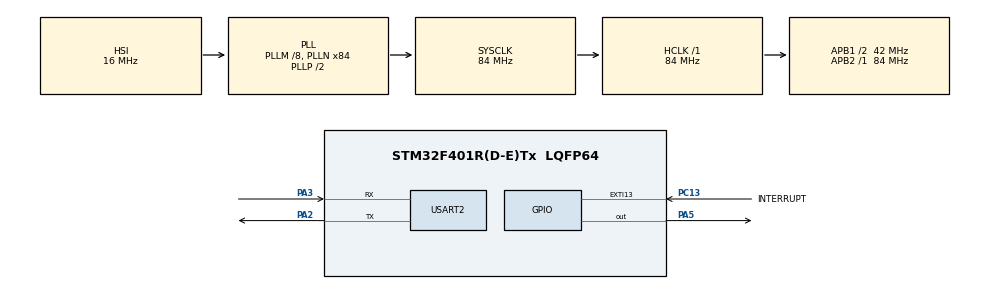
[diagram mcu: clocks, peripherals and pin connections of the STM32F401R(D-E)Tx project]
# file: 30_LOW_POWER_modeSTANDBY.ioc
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Mcu.Family=STM32F4
Mcu.Name=STM32F401R(D-E)Tx
Mcu.Package=LQFP64
NVIC.PriorityGroup=NVIC_PRIORITYGROUP_4
NVIC.USART2_IRQn=true\:0\:0\:false\:false\:true\:true\:true\:true
PA0-WKUP.Mode=SYS_WakeUp0
PA0-WKUP.Signal=SYS_WKUP
PA13.Mode=Serial_Wire
PA13.Signal=SYS_JTMS-SWDIO
PA14.Mode=Serial_Wire
PA14.Signal=SYS_JTCK-SWCLK
PA2.Mode=Asynchronous
PA2.Signal=USART2_TX
PA3.Mode=Asynchronous
PA3.Signal=USART2_RX
PA5.Signal=GPIO_Output
PC13-ANTI_TAMP.GPIO_Label=INTERRUPT
PC13-ANTI_TAMP.GPIO_ModeDefaultEXTI=GPIO_MODE_IT_FALLING
PC13-ANTI_TAMP.GPIO_PuPd=GPIO_PULLUP
PC13-ANTI_TAMP.Signal=GPXTI13
PH0\ -\ OSC_IN.Mode=HSE-External-Clock-Source
PH0\ -\ OSC_IN.Signal=RCC_OSC_IN
PH1\ -\ OSC_OUT.Mode=HSE-External-Clock-Source
PH1\ -\ OSC_OUT.Signal=RCC_OSC_OUT
ProjectManager.HeapSize=0x200
ProjectManager.StackSize=0x400
ProjectManager.TargetToolchain=STM32CubeIDE
RCC.48MHZClocksFreq_Value=42000000
RCC.AHBFreq_Value=84000000
RCC.APB1CLKDivider=RCC_HCLK_DIV2
RCC.APB1Freq_Value=42000000
RCC.APB1TimFreq_Value=84000000
RCC.APB2Freq_Value=84000000
RCC.APB2TimFreq_Value=84000000
RCC.CortexFreq_Value=84000000
RCC.HCLKFreq_Value=84000000
RCC.HSE_VALUE=8000000
RCC.HSI_VALUE=16000000
RCC.LSE_VALUE=32768
RCC.PLLM=8
RCC.PLLN=84
RCC.SYSCLKFreq_VALUE=84000000
RCC.SYSCLKSource=RCC_SYSCLKSOURCE_PLLCLK
RCC.VCOOutputFreq_Value=168000000
USART2.VirtualMode=VM_ASYNC
board=custom

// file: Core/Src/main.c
/* USER CODE BEGIN Header */
/**
  ******************************************************************************
  * @file           : main.c
  * @brief          : Main program body
  ******************************************************************************
  * @attention
  *
  * Copyright (c) 2024 STMicroelectronics.
  * All rights reserved.
  *
  * This software is licensed under terms that can be found in the LICENSE file
  * in the root directory of this software component.
  * If no LICENSE file comes with this software, it is provided AS-IS.
  *
  ******************************************************************************
  */
/* USER CODE END Header */
#include "main.h"
#include "usart.h"
#include "gpio.h"

/* USER CODE BEGIN Includes */
#include "string.h"
#include <stdio.h>
#include "stdbool.h"
/* USER CODE END Includes */

/* USER CODE BEGIN PV */
uint8_t * MSG_Standby1 = {0};
uint8_t * MSG_Standby2 = {0};
uint8_t * MSG_Standby3 = {0};
bool Bandera = false;
uint8_t rx;
/* USER CODE END PV */

void SystemClock_Config(void);

int main(void)
{

  /* MCU Configuration--------------------------------------------------------*/

  /* Reset of all peripherals, Initializes the Flash interface and the Systick. */
  HAL_Init();

  /* Configure the system clock */
  SystemClock_Config();

  /* Initialize all configured peripherals */
  MX_GPIO_Init();
  MX_USART2_UART_Init();
  /* USER CODE BEGIN 2 */
  //EL MODO STANDBY

  /* USER CODE END 2 */

  /* Infinite loop */
  /* USER CODE BEGIN WHILE */
  while (1)

  {
	  if(__HAL_PWR_GET_FLAG(PWR_FLAG_SB) != 0){ //si la bandera
	  	  __HAL_PWR_CLEAR_FLAG(PWR_FLAG_SB);
	  	MSG_Standby1 = "despertando del MODO STANDBY en 5 segunodos\n\r";
	  	  HAL_UART_Transmit(&huart2, MSG_Standby1, strlen(MSG_Standby1),HAL_MAX_DELAY);

	  	  for(uint8_t var = 0; var <20; ++var){
	  	  	  GPIOA->ODR ^= (1<<5);
	  	  	  HAL_Delay(200);
	  	  }
	  	  HAL_PWR_DisableWakeUpPin(PWR_WAKEUP_PIN1);
	    }

	  /******************************/

	  __HAL_PWR_CLEAR_FLAG(PWR_FLAG_WU); //borrar la bandera dek wake up
	  MSG_Standby2 = "Preparados para ir a MODO STANDBY en 5 segunodos\n\r";
	    HAL_UART_Transmit(&huart2, MSG_Standby2, strlen(MSG_Standby2),HAL_MAX_DELAY);

	      for(uint8_t var = 0; var <20; ++var){
	    	  	  GPIOA->ODR ^= (1<<5);
	    	  	  HAL_Delay(1000);
	    	 }
	     HAL_PWR_EnableWakeUpPin(PWR_WAKEUP_PIN1); //habilitammos el pin WAKEup
	     MSG_Standby3 = "MODO STANDBY habilitado\n\r";
	     HAL_UART_Transmit(&huart2, MSG_Standby3, strlen(MSG_Standby3),HAL_MAX_DELAY);
	     HAL_PWR_EnterSTANDBYMode();
    /* USER CODE END WHILE */

}}

void SystemClock_Config(void)
{
  RCC_OscInitTypeDef RCC_OscInitStruct = {0};
  RCC_ClkInitTypeDef RCC_ClkInitStruct = {0};

  /** Configure the main internal regulator output voltage
  */
  __HAL_RCC_PWR_CLK_ENABLE();
  __HAL_PWR_VOLTAGESCALING_CONFIG(PWR_REGULATOR_VOLTAGE_SCALE2);

  /** Initializes the RCC Oscillators according to the specified parameters
  * in the RCC_OscInitTypeDef structure.
  */
  RCC_OscInitStruct.OscillatorType = RCC_OSCILLATORTYPE_HSI;
  RCC_OscInitStruct.HSIState = RCC_HSI_ON;
  RCC_OscInitStruct.HSICalibrationValue = RCC_HSICALIBRATION_DEFAULT;
  RCC_OscInitStruct.PLL.PLLState = RCC_PLL_ON;
  RCC_OscInitStruct.PLL.PLLSource = RCC_PLLSOURCE_HSI;
  RCC_OscInitStruct.PLL.PLLM = 8;
  RCC_OscInitStruct.PLL.PLLN = 84;
  RCC_OscInitStruct.PLL.PLLP = RCC_PLLP_DIV2;
  RCC_OscInitStruct.PLL.PLLQ = 4;
  if (HAL_RCC_OscConfig(&RCC_OscInitStruct) != HAL_OK)
  {
    Error_Handler();
  }

  /** Initializes the CPU, AHB and APB buses clocks
  */
  RCC_ClkInitStruct.ClockType = RCC_CLOCKTYPE_HCLK|RCC_CLOCKTYPE_SYSCLK
                              |RCC_CLOCKTYPE_PCLK1|RCC_CLOCKTYPE_PCLK2;
  RCC_ClkInitStruct.SYSCLKSource = RCC_SYSCLKSOURCE_PLLCLK;
  RCC_ClkInitStruct.AHBCLKDivider = RCC_SYSCLK_DIV1;
  RCC_ClkInitStruct.APB1CLKDivider = RCC_HCLK_DIV2;
  RCC_ClkInitStruct.APB2CLKDivider = RCC_HCLK_DIV1;

  if (HAL_RCC_ClockConfig(&RCC_ClkInitStruct, FLASH_LATENCY_2) != HAL_OK)
  {
    Error_Handler();
  }
}

void Error_Handler(void)
{
  __disable_irq();
  while (1)
  {
  }
}
